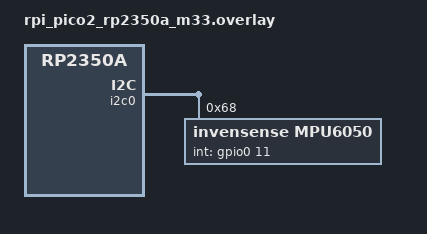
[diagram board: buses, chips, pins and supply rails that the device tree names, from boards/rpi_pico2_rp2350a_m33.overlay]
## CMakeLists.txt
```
cmake_minimum_required(VERSION 3.20.0)

find_package(Zephyr REQUIRED HINTS $ENV{ZEPHYR_BASE})

project(drone)

add_subdirectory(includes)

target_sources(app PRIVATE src/main.c)

target_link_libraries(app PRIVATE drone_headers)
```

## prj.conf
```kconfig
# enable GPIO
CONFIG_GPIO=y

# enable uart driver
CONFIG_SERIAL=y

# enable console
CONFIG_CONSOLE=y
CONFIG_UART_CONSOLE=y
CONFIG_USB_DEVICE_STACK=y
CONFIG_USB_CDC_ACM=y
CONFIG_USB_DRIVER_LOG_LEVEL_INF=y


# MPU6050
CONFIG_I2C=y
CONFIG_SENSOR=y
CONFIG_MPU6050=y
CONFIG_CONSOLE_SUBSYS=y
CONFIG_MPU6050_TRIGGER_NONE=y
CONFIG_CBPRINTF_FP_SUPPORT=y
```

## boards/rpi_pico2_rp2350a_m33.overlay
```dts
&i2c0 {
	status = "okay";
	mpu6050: mpu6050@68 {
		compatible = "invensense,mpu6050";
		reg = <0x68>;
		label = "MPU6050";
		int-gpios = <&gpio0 11 GPIO_ACTIVE_HIGH>;
		smplrt-div = <249>;
	};
};
```

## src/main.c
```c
#include "../includes/drone.h"

int	main(void)
{
	const struct device *const mpu6050 = DEVICE_DT_GET_ONE(invensense_mpu6050);
	struct	sensor_value accel[3] = {0};
	struct	sensor_value gyro[3] = {0};

	if (!device_is_ready(mpu6050))
	{
		while (1)
		{
			printf("ERROR: MPU6050 not ready\n");
		}
		return (1);
	}

	printf("START: While for read MPU6050\n");
	while (1)
	{
		sensor_sample_fetch(mpu6050);

		sensor_channel_get(mpu6050, SENSOR_CHAN_ACCEL_XYZ, accel);
		sensor_channel_get(mpu6050, SENSOR_CHAN_GYRO_XYZ, gyro);

		printf("Accel X: %f, Y: %f, Z: %f\n",
				sensor_value_to_double(&accel[0]),
				sensor_value_to_double(&accel[1]),
				sensor_value_to_double(&accel[2]));

		printf("Gyro X: %f, Y: %f, Z: %f\n",
				sensor_value_to_double(&gyro[0]),
				sensor_value_to_double(&gyro[1]),
				sensor_value_to_double(&gyro[2]));

		k_sleep(K_MSEC(500));
	}
	while (1)
	{
		printf("Error: exit loop\n");
	}
	return (0);
}
```
